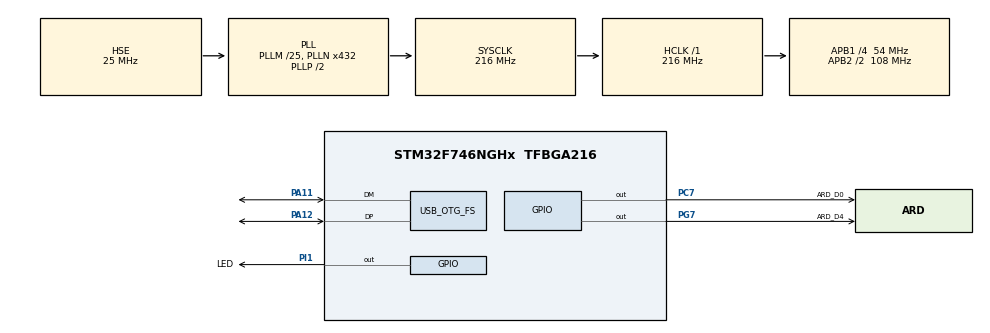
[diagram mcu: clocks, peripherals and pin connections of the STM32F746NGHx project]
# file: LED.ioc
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Mcu.Family=STM32F7
Mcu.Name=STM32F746NGHx
Mcu.Package=TFBGA216
NVIC.OTG_FS_IRQn=true\:0\:0\:false\:false\:true\:false\:true
NVIC.PriorityGroup=NVIC_PRIORITYGROUP_4
NVIC.TIM2_IRQn=true\:0\:0\:false\:false\:true\:true\:true
PA11.Mode=Device_Only
PA11.Signal=USB_OTG_FS_DM
PA12.Mode=Device_Only
PA12.Signal=USB_OTG_FS_DP
PA13.Mode=Serial_Wire
PA13.Signal=SYS_JTMS-SWDIO
PA14.Mode=Serial_Wire
PA14.Signal=SYS_JTCK-SWCLK
PC7.GPIO_Label=ARD_D0
PC7.Signal=GPIO_Output
PG7.GPIO_Label=ARD_D4
PG7.Signal=GPIO_Output
PH0/OSC_IN.Mode=HSE-External-Oscillator
PH0/OSC_IN.Signal=RCC_OSC_IN
PH1/OSC_OUT.Mode=HSE-External-Oscillator
PH1/OSC_OUT.Signal=RCC_OSC_OUT
PI1.GPIO_Label=LED
PI1.Signal=GPIO_Output
ProjectManager.HeapSize=0x200
ProjectManager.StackSize=0x400
ProjectManager.TargetToolchain=Makefile
RCC.AHBFreq_Value=216000000
RCC.APB1CLKDivider=RCC_HCLK_DIV4
RCC.APB1Freq_Value=54000000
RCC.APB1TimFreq_Value=108000000
RCC.APB2CLKDivider=RCC_HCLK_DIV2
RCC.APB2Freq_Value=108000000
RCC.APB2TimFreq_Value=216000000
RCC.CortexFreq_Value=216000000
RCC.HCLKFreq_Value=216000000
RCC.HSE_VALUE=25000000
RCC.HSI_VALUE=16000000
RCC.LSE_VALUE=32768
RCC.PLLM=25
RCC.PLLN=432
RCC.PLLQ=9
RCC.SYSCLKFreq_VALUE=216000000
RCC.SYSCLKSource=RCC_SYSCLKSOURCE_PLLCLK
RCC.USBFreq_Value=48000000
RCC.VCOOutputFreq_Value=432000000
TIM2.Period=1999
TIM2.Prescaler=53999
USB_DEVICE.CLASS_NAME_FS=CDC
USB_DEVICE.USBD_DEBUG_LEVEL-CDC_FS=2
USB_DEVICE.USBD_MAX_NUM_INTERFACES-CDC_FS=2
USB_DEVICE.USBD_MAX_STR_DESC_SIZ-CDC_FS=256
USB_DEVICE.VirtualMode-CDC_FS=Cdc
USB_DEVICE.VirtualModeFS=Cdc_FS
USB_OTG_FS.VirtualMode=Device_Only
VP_TIM2_VS_ClockSourceINT.Mode=Internal
VP_USB_DEVICE_VS_USB_DEVICE_CDC_FS.Mode=CDC_FS
board=custom

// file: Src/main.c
/* USER CODE BEGIN Header */
/**
  ******************************************************************************
  * @file           : main.c
  * @brief          : Main program body
  ******************************************************************************
  ** This notice applies to any and all portions of this file
  * that are not between comment pairs USER CODE BEGIN and
  * USER CODE END. Other portions of this file, whether
  * inserted by the user or by software development tools
  * are owned by their respective copyright owners.
  *
  * COPYRIGHT(c) 2019 STMicroelectronics
  *
  * Redistribution and use in source and binary forms, with or without modification,
  * are permitted provided that the following conditions are met:
  *   1. Redistributions of source code must retain the above copyright notice,
  *      this list of conditions and the following disclaimer.
  *   2. Redistributions in binary form must reproduce the above copyright notice,
  *      this list of conditions and the following disclaimer in the documentation
  *      and/or other materials provided with the distribution.
  *   3. Neither the name of STMicroelectronics nor the names of its contributors
  *      may be used to endorse or promote products derived from this software
  *      without specific prior written permission.
  *
  * THIS SOFTWARE IS PROVIDED BY THE COPYRIGHT HOLDERS AND CONTRIBUTORS "AS IS"
  * AND ANY EXPRESS OR IMPLIED WARRANTIES, INCLUDING, BUT NOT LIMITED TO, THE
  * IMPLIED WARRANTIES OF MERCHANTABILITY AND FITNESS FOR A PARTICULAR PURPOSE ARE
  * DISCLAIMED. IN NO EVENT SHALL THE COPYRIGHT HOLDER OR CONTRIBUTORS BE LIABLE
  * FOR ANY DIRECT, INDIRECT, INCIDENTAL, SPECIAL, EXEMPLARY, OR CONSEQUENTIAL
  * DAMAGES (INCLUDING, BUT NOT LIMITED TO, PROCUREMENT OF SUBSTITUTE GOODS OR
  * SERVICES; LOSS OF USE, DATA, OR PROFITS; OR BUSINESS INTERRUPTION) HOWEVER
  * CAUSED AND ON ANY THEORY OF LIABILITY, WHETHER IN CONTRACT, STRICT LIABILITY,
  * OR TORT (INCLUDING NEGLIGENCE OR OTHERWISE) ARISING IN ANY WAY OUT OF THE USE
  * OF THIS SOFTWARE, EVEN IF ADVISED OF THE POSSIBILITY OF SUCH DAMAGE.
  *
  ******************************************************************************
  */
/* USER CODE END Header */

#include "main.h"
#include "usb_device.h"

/* USER CODE BEGIN Includes */
#include "usbd_cdc_if.h"
/* USER CODE END Includes */

TIM_HandleTypeDef htim2;

void SystemClock_Config(void);
static void MX_GPIO_Init(void);
static void MX_TIM2_Init(void);
uint8_t crc8_check(uint8_t* Buf, uint32_t len);
uint8_t recive_msg(uint8_t* rec_data);

/* USER CODE BEGIN 0 */
void HAL_TIM_PeriodElapsedCallback(TIM_HandleTypeDef *htim)
{
  if (htim->Instance==TIM2)
  {
    HAL_GPIO_TogglePin(LED_GPIO_Port, LED_Pin);
  }
}
/* USER CODE END 0 */

int main(void)
{
  /* USER CODE BEGIN 1 */
  srand(100);

  uint8_t rec_crc8;
  uint8_t ans[] = {170, 85, 2, 0, 0};
  uint8_t ans_buf[] = {170, 85, 2, 0};
  /* USER CODE END 1 */

  /* MCU Configuration--------------------------------------------------------*/

  /* Reset of all peripherals, Initializes the Flash interface and the Systick. */
  HAL_Init();

  /* Configure the system clock */
  SystemClock_Config();

  /* Initialize all configured peripherals */
  MX_GPIO_Init();
  MX_TIM2_Init();
  MX_USB_DEVICE_Init();
  /* USER CODE BEGIN 2 */
  HAL_TIM_Base_Start_IT(&htim2);
  /* USER CODE END 2 */

  /* Infinite loop */
  while (1)
  {

    /* USER CODE BEGIN 3 */
    if(rec_data[0] == 170 && rec_data[1] == 85)
    {
      for (int i=2; i<rec_data[2]; i++)
      {
        ans_buf[i] = rec_data[i];
      }

      rec_crc8 = crc8_check(&ans_buf, 3);

      if(rec_crc8 == rec_data[rec_data_size-1])
      {
        ans_buf[3] = recive_msg(&rec_data);
        ans[3] = ans_buf[3];
        ans[4] = crc8_check(&ans_buf, 3);

        CDC_Transmit_FS(&ans, 5);
      }

      memset(rec_data, 0, rec_data_size);
    }
  /* USER CODE END 3 */
  }
}
void SystemClock_Config(void)
{
  RCC_OscInitTypeDef RCC_OscInitStruct = {0};
  RCC_ClkInitTypeDef RCC_ClkInitStruct = {0};
  RCC_PeriphCLKInitTypeDef PeriphClkInitStruct = {0};

  /** Configure the main internal regulator output voltage
  */
  __HAL_RCC_PWR_CLK_ENABLE();
  __HAL_PWR_VOLTAGESCALING_CONFIG(PWR_REGULATOR_VOLTAGE_SCALE1);
  /** Initializes the CPU, AHB and APB busses clocks
  */
  RCC_OscInitStruct.OscillatorType = RCC_OSCILLATORTYPE_HSE;
  RCC_OscInitStruct.HSEState = RCC_HSE_ON;
  RCC_OscInitStruct.PLL.PLLState = RCC_PLL_ON;
  RCC_OscInitStruct.PLL.PLLSource = RCC_PLLSOURCE_HSE;
  RCC_OscInitStruct.PLL.PLLM = 25;
  RCC_OscInitStruct.PLL.PLLN = 432;
  RCC_OscInitStruct.PLL.PLLP = RCC_PLLP_DIV2;
  RCC_OscInitStruct.PLL.PLLQ = 9;
  if (HAL_RCC_OscConfig(&RCC_OscInitStruct) != HAL_OK)
  {
    Error_Handler();
  }
  /** Activate the Over-Drive mode
  */
  if (HAL_PWREx_EnableOverDrive() != HAL_OK)
  {
    Error_Handler();
  }
  /** Initializes the CPU, AHB and APB busses clocks
  */
  RCC_ClkInitStruct.ClockType = RCC_CLOCKTYPE_HCLK|RCC_CLOCKTYPE_SYSCLK
                              |RCC_CLOCKTYPE_PCLK1|RCC_CLOCKTYPE_PCLK2;
  RCC_ClkInitStruct.SYSCLKSource = RCC_SYSCLKSOURCE_PLLCLK;
  RCC_ClkInitStruct.AHBCLKDivider = RCC_SYSCLK_DIV1;
  RCC_ClkInitStruct.APB1CLKDivider = RCC_HCLK_DIV4;
  RCC_ClkInitStruct.APB2CLKDivider = RCC_HCLK_DIV2;

  if (HAL_RCC_ClockConfig(&RCC_ClkInitStruct, FLASH_LATENCY_7) != HAL_OK)
  {
    Error_Handler();
  }
  PeriphClkInitStruct.PeriphClockSelection = RCC_PERIPHCLK_CLK48;
  PeriphClkInitStruct.Clk48ClockSelection = RCC_CLK48SOURCE_PLL;
  if (HAL_RCCEx_PeriphCLKConfig(&PeriphClkInitStruct) != HAL_OK)
  {
    Error_Handler();
  }
}

static void MX_TIM2_Init(void)
{

  TIM_ClockConfigTypeDef sClockSourceConfig = {0};
  TIM_MasterConfigTypeDef sMasterConfig = {0};

  htim2.Instance = TIM2;
  htim2.Init.Prescaler = 53999;
  htim2.Init.CounterMode = TIM_COUNTERMODE_UP;
  htim2.Init.Period = 1999;
  htim2.Init.ClockDivision = TIM_CLOCKDIVISION_DIV1;
  htim2.Init.AutoReloadPreload = TIM_AUTORELOAD_PRELOAD_DISABLE;
  if (HAL_TIM_Base_Init(&htim2) != HAL_OK)
  {
    Error_Handler();
  }
  sClockSourceConfig.ClockSource = TIM_CLOCKSOURCE_INTERNAL;
  if (HAL_TIM_ConfigClockSource(&htim2, &sClockSourceConfig) != HAL_OK)
  {
    Error_Handler();
  }
  sMasterConfig.MasterOutputTrigger = TIM_TRGO_RESET;
  sMasterConfig.MasterSlaveMode = TIM_MASTERSLAVEMODE_DISABLE;
  if (HAL_TIMEx_MasterConfigSynchronization(&htim2, &sMasterConfig) != HAL_OK)
  {
    Error_Handler();
  }

}

static void MX_GPIO_Init(void)
{
  GPIO_InitTypeDef GPIO_InitStruct = {0};

  /* GPIO Ports Clock Enable */
  __HAL_RCC_GPIOA_CLK_ENABLE();
  __HAL_RCC_GPIOI_CLK_ENABLE();
  __HAL_RCC_GPIOH_CLK_ENABLE();
  __HAL_RCC_GPIOC_CLK_ENABLE();
  __HAL_RCC_GPIOG_CLK_ENABLE();

  /*Configure GPIO pin Output Level */
  HAL_GPIO_WritePin(LED_GPIO_Port, LED_Pin, GPIO_PIN_RESET);

  /*Configure GPIO pin Output Level */
  HAL_GPIO_WritePin(ARD_D0_GPIO_Port, ARD_D0_Pin, GPIO_PIN_RESET);

  /*Configure GPIO pin Output Level */
  HAL_GPIO_WritePin(ARD_D4_GPIO_Port, ARD_D4_Pin, GPIO_PIN_RESET);

  /*Configure GPIO pin : LED_Pin */
  GPIO_InitStruct.Pin = LED_Pin;
  GPIO_InitStruct.Mode = GPIO_MODE_OUTPUT_PP;
  GPIO_InitStruct.Pull = GPIO_NOPULL;
  GPIO_InitStruct.Speed = GPIO_SPEED_FREQ_LOW;
  HAL_GPIO_Init(LED_GPIO_Port, &GPIO_InitStruct);

  /*Configure GPIO pin : ARD_D0_Pin */
  GPIO_InitStruct.Pin = ARD_D0_Pin;
  GPIO_InitStruct.Mode = GPIO_MODE_OUTPUT_PP;
  GPIO_InitStruct.Pull = GPIO_NOPULL;
  GPIO_InitStruct.Speed = GPIO_SPEED_FREQ_LOW;
  HAL_GPIO_Init(ARD_D0_GPIO_Port, &GPIO_InitStruct);

  /*Configure GPIO pin : ARD_D4_Pin */
  GPIO_InitStruct.Pin = ARD_D4_Pin;
  GPIO_InitStruct.Mode = GPIO_MODE_OUTPUT_PP;
  GPIO_InitStruct.Pull = GPIO_NOPULL;
  GPIO_InitStruct.Speed = GPIO_SPEED_FREQ_LOW;
  HAL_GPIO_Init(ARD_D4_GPIO_Port, &GPIO_InitStruct);

}

/* USER CODE BEGIN 4 */
uint8_t crc8_check(uint8_t* Buf, uint32_t len)
{
  uint8_t crc = 0xFF;
  uint8_t CRC8Table[] = {
    0x00, 0x5E, 0xBC, 0xE2, 0x61, 0x3F, 0xDD, 0x83,
    0xC2, 0x9C, 0x7E, 0x20, 0xA3, 0xFD, 0x1F, 0x41,
    0x9D, 0xC3, 0x21, 0x7F, 0xFC, 0xA2, 0x40, 0x1E,
    0x5F, 0x01, 0xE3, 0xBD, 0x3E, 0x60, 0x82, 0xDC,
    0x23, 0x7D, 0x9F, 0xC1, 0x42, 0x1C, 0xFE, 0xA0,
    0xE1, 0xBF, 0x5D, 0x03, 0x80, 0xDE, 0x3C, 0x62,
    0xBE, 0xE0, 0x02, 0x5C, 0xDF, 0x81, 0x63, 0x3D,
    0x7C, 0x22, 0xC0, 0x9E, 0x1D, 0x43, 0xA1, 0xFF,
    0x46, 0x18, 0xFA, 0xA4, 0x27, 0x79, 0x9B, 0xC5,
    0x84, 0xDA, 0x38, 0x66, 0xE5, 0xBB, 0x59, 0x07,
    0xDB, 0x85, 0x67, 0x39, 0xBA, 0xE4, 0x06, 0x58,
    0x19, 0x47, 0xA5, 0xFB, 0x78, 0x26, 0xC4, 0x9A,
    0x65, 0x3B, 0xD9, 0x87, 0x04, 0x5A, 0xB8, 0xE6,
    0xA7, 0xF9, 0x1B, 0x45, 0xC6, 0x98, 0x7A, 0x24,
    0xF8, 0xA6, 0x44, 0x1A, 0x99, 0xC7, 0x25, 0x7B,
    0x3A, 0x64, 0x86, 0xD8, 0x5B, 0x05, 0xE7, 0xB9,
    0x8C, 0xD2, 0x30, 0x6E, 0xED, 0xB3, 0x51, 0x0F,
    0x4E, 0x10, 0xF2, 0xAC, 0x2F, 0x71, 0x93, 0xCD,
    0x11, 0x4F, 0xAD, 0xF3, 0x70, 0x2E, 0xCC, 0x92,
    0xD3, 0x8D, 0x6F, 0x31, 0xB2, 0xEC, 0x0E, 0x50,
    0xAF, 0xF1, 0x13, 0x4D, 0xCE, 0x90, 0x72, 0x2C,
    0x6D, 0x33, 0xD1, 0x8F, 0x0C, 0x52, 0xB0, 0xEE,
    0x32, 0x6C, 0x8E, 0xD0, 0x53, 0x0D, 0xEF, 0xB1,
    0xF0, 0xAE, 0x4C, 0x12, 0x91, 0xCF, 0x2D, 0x73,
    0xCA, 0x94, 0x76, 0x28, 0xAB, 0xF5, 0x17, 0x49,
    0x08, 0x56, 0xB4, 0xEA, 0x69, 0x37, 0xD5, 0x8B,
    0x57, 0x09, 0xEB, 0xB5, 0x36, 0x68, 0x8A, 0xD4,
    0x95, 0xCB, 0x29, 0x77, 0xF4, 0xAA, 0x48, 0x16,
    0xE9, 0xB7, 0x55, 0x0B, 0x88, 0xD6, 0x34, 0x6A,
    0x2B, 0x75, 0x97, 0xC9, 0x4A, 0x14, 0xF6, 0xA8,
    0x74, 0x2A, 0xC8, 0x96, 0x15, 0x4B, 0xA9, 0xF7,
    0xB6, 0xE8, 0x0A, 0x54, 0xD7, 0x89, 0x6B, 0x35
  };

  while (len--)
    crc = CRC8Table[crc ^ *Buf++];

  return crc;
}

uint8_t recive_msg(uint8_t* rec_data)
{

  if (rec_data[2] == 1)
  {
    if (rec_data[3] == 1)
    {
      HAL_GPIO_WritePin(ARD_D0_GPIO_Port, ARD_D0_Pin, SET);
      return 1;
    }
    else
      if (rec_data[3] == 0)
      {
        HAL_GPIO_WritePin(ARD_D0_GPIO_Port, ARD_D0_Pin, RESET);
        return 1;
      }
  }
  else if (rec_data[2] == 2)
  {
    if (rec_data[3] == 1)
    {
      HAL_GPIO_WritePin(ARD_D4_GPIO_Port, ARD_D4_Pin, SET);
      return 1;
    }
    else
      if (rec_data[3] == 0)
      {
        HAL_GPIO_WritePin(ARD_D4_GPIO_Port, ARD_D4_Pin, RESET);
        return 1;
      }
  }
  if (rec_data[2] == 3)
  {
    return rand() % 100;
  }
  return 0;
}
/* USER CODE END 4 */

void Error_Handler(void)
{
}

/************************ (C) COPYRIGHT STMicroelectronics *****END OF FILE****/
